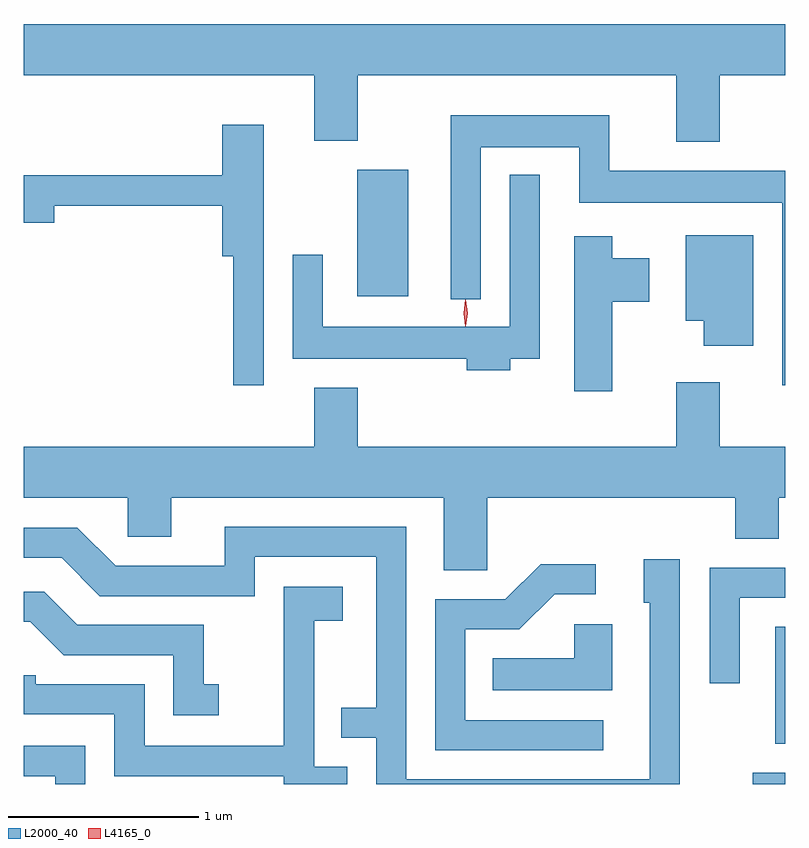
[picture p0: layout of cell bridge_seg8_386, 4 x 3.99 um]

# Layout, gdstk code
import gdstk
lib = gdstk.Library(unit=1e-6, precision=1e-09)
def R(c, l, rs):  # rectangles x0, y0, x1, y1
    for r in rs: c.add(gdstk.rectangle(r[:2], r[2:], *l))
def P(c, l, *ps):  # polygons
    for p in ps: c.add(gdstk.Polygon(p, *l))
L2000_40 = (2000, 40)
L4165_0 = (4165, 0)

bridge_seg8_386 = lib.new_cell('bridge_seg8_386')
R(bridge_seg8_386, L2000_40, [(684.651,1901.514,684.824,1901.574), (684.771,1901.726,684.824,1902.339), (682.576,1904.076,682.844,1904.739)])
P(bridge_seg8_386, L2000_40, [(684.479,1905.236),(684.824,1905.236),(684.824,1905.504),(680.824,1905.504),(680.824,1905.236),(682.351,1905.236),(682.351,1904.891),(682.579,1904.891),(682.579,1905.236),(684.251,1905.236),(684.251,1904.886),(684.479,1904.886)],
  [(684.824,1904.734),(683.899,1904.734),(683.899,1905.024),(683.066,1905.024),(683.066,1904.058),(683.224,1904.058),(683.224,1904.856),(683.741,1904.856),(683.741,1904.566),(684.806,1904.566),(684.806,1903.608),(684.824,1903.608)],
  [(682.084,1904.974),(681.866,1904.974),(681.866,1904.709),(680.824,1904.709),(680.824,1904.461),(680.984,1904.461),(680.984,1904.551),(681.866,1904.551),(681.866,1904.286),(681.926,1904.286),(681.926,1903.608),(682.084,1903.608)],
  [(683.379,1903.746),(683.534,1903.746),(683.534,1904.713),(683.376,1904.713),(683.376,1903.914),(682.394,1903.914),(682.394,1904.293),(682.236,1904.293),(682.236,1903.746),(683.151,1903.746),(683.151,1903.686),(683.379,1903.686)],
  [(684.654,1904.394),(684.301,1904.394),(684.301,1903.946),(684.396,1903.946),(684.396,1903.816),(684.654,1903.816)],
  [(683.914,1904.046),(684.109,1904.046),(684.109,1904.274),(683.914,1904.274),(683.914,1904.389),(683.716,1904.389),(683.716,1903.576),(683.914,1903.576)],
  [(683.259,1903.016),(684.561,1903.016),(684.561,1902.801),(684.789,1902.801),(684.789,1903.016),(684.824,1903.016),(684.824,1903.284),(684.479,1903.284),(684.479,1903.624),(684.251,1903.624),(684.251,1903.284),(682.579,1903.284),(682.579,1903.594),(682.351,1903.594),(682.351,1903.284),(680.824,1903.284),(680.824,1903.016),(681.371,1903.016),(681.371,1902.811),(681.599,1902.811),(681.599,1903.016),(683.031,1903.016),(683.031,1902.636),(683.259,1902.636)],
  [(684.269,1902.694),(684.081,1902.694),(684.081,1902.466),(684.111,1902.466),(684.111,1901.539),(682.834,1901.539),(682.834,1902.864),(681.881,1902.864),(681.881,1902.659),(681.307,1902.659),(681.107,1902.859),(680.824,1902.859),(680.824,1902.701),(681.024,1902.701),(681.224,1902.501),(682.039,1902.501),(682.039,1902.706),(682.676,1902.706),(682.676,1901.914),(682.493,1901.914),(682.493,1901.756),(682.676,1901.756),(682.676,1901.514),(684.269,1901.514)],
  [(683.868,1901.849),(683.144,1901.849),(683.144,1902.326),(683.427,1902.326),(683.612,1902.511),(683.828,1902.511),(683.828,1902.669),(683.539,1902.669),(683.354,1902.484),(682.986,1902.484),(682.986,1901.691),(683.868,1901.691)],
  [(684.584,1902.491),(684.824,1902.491),(684.824,1902.649),(684.426,1902.649),(684.426,1902.043),(684.584,1902.043)],
  [(682.524,1901.604),(682.349,1901.604),(682.349,1902.371),(682.499,1902.371),(682.499,1902.549),(682.191,1902.549),(682.191,1901.714),(681.459,1901.714),(681.459,1902.039),(680.889,1902.039),(680.889,1902.084),(680.824,1902.084),(680.824,1901.881),(681.301,1901.881),(681.301,1901.556),(682.191,1901.556),(682.191,1901.514),(682.524,1901.514)],
  [(681.848,1902.039),(681.769,1902.039),(681.769,1902.349),(681.107,1902.349),(680.932,1902.524),(680.824,1902.524),(680.824,1902.366),(680.859,1902.366),(681.034,1902.191),(681.611,1902.191),(681.611,1901.876),(681.848,1901.876)],
  [(683.914,1902.354),(683.716,1902.354),(683.716,1902.174),(683.288,1902.174),(683.288,1902.006),(683.914,1902.006)],
  [(681.149,1901.714),(680.824,1901.714),(680.824,1901.556),(680.991,1901.556),(680.991,1901.514),(681.149,1901.514)])
P(bridge_seg8_386, L4165_0, [(683.144,1903.917),(683.135,1903.986),(683.144,1904.056),(683.145,1904.056),(683.145,1904.056),(683.155,1903.986),(683.145,1903.917),(683.145,1903.917)],
  [(683.145,1903.919),(683.144,1903.92),(683.135,1903.986),(683.144,1904.052),(683.145,1904.053),(683.145,1904.052),(683.155,1903.986),(683.145,1903.92)])

lib.write_gds('bridge_seg8_386.gds')
